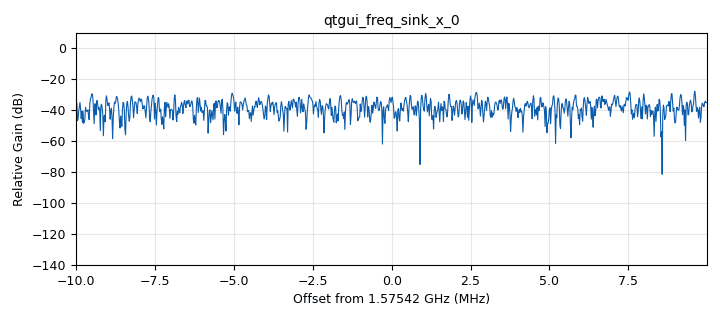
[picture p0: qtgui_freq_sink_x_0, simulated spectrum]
options:
  parameters:
    author: ccc_gs
    generate_options: qt_gui
    id: gps_jammer
    output_language: python
    title: Not titled yet
  states: {}

blocks:
- name: samp_rate
  id: variable
  parameters:
    value: 20e6
  states: {}
- name: analog_noise_source_x_0
  id: analog_noise_source_x
  parameters:
    amp: '1'
    noise_type: analog.GR_GAUSSIAN
    seed: '0'
    type: complex
  states: {}
- name: osmosdr_sink_0
  id: osmosdr_sink
  parameters:
    bb_gain0: '-4'
    bw0: 14e6
    freq0: 1.57542e9
    gain0: '0'
    if_gain0: '0'
    sample_rate: samp_rate
    sync: sync
    type: fc32
  states: {}
- name: qtgui_freq_sink_x_0
  id: qtgui_freq_sink_x
  parameters:
    bw: samp_rate
    fc: 1575.42e6
    fftsize: '1024'
    type: complex
  states: {}

connections:
- [analog_noise_source_x_0, '0', osmosdr_sink_0, '0']
- [analog_noise_source_x_0, '0', qtgui_freq_sink_x_0, '0']

metadata:
  file_format: 1
